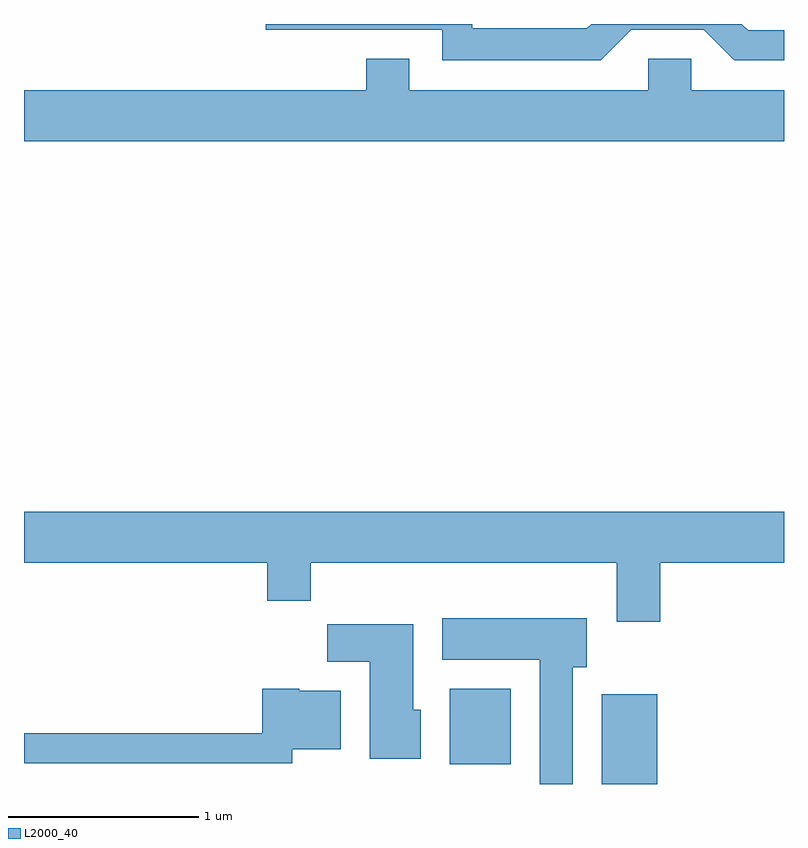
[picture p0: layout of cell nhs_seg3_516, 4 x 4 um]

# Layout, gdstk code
import gdstk
lib = gdstk.Library(unit=1e-6, precision=1e-09)
def R(c, l, rs):  # rectangles x0, y0, x1, y1
    for r in rs: c.add(gdstk.rectangle(r[:2], r[2:], *l))
def P(c, l, *ps):  # polygons
    for p in ps: c.add(gdstk.Polygon(p, *l))
L2000_40 = (2000, 40)

nhs_seg3_516 = lib.new_cell('nhs_seg3_516')
R(nhs_seg3_516, L2000_40, [(202.651,1195.892,202.944,1196.364), (201.851,1195.996,202.174,1196.394)])
P(nhs_seg3_516, L2000_40, [(202.807,1199.861),(203.189,1199.861),(203.349,1199.701),(203.611,1199.701),(203.611,1199.859),(203.422,1199.859),(203.389,1199.892),(202.597,1199.892),(202.574,1199.869),(201.969,1199.869),(201.969,1199.892),(200.883,1199.892),(200.883,1199.861),(201.811,1199.861),(201.811,1199.701),(202.647,1199.701)],
  [(203.611,1199.544),(203.124,1199.544),(203.124,1199.709),(202.896,1199.709),(202.896,1199.544),(201.639,1199.544),(201.639,1199.709),(201.411,1199.709),(201.411,1199.544),(199.611,1199.544),(199.611,1199.276),(203.611,1199.276)],
  [(202.959,1197.056),(203.611,1197.056),(203.611,1197.324),(199.611,1197.324),(199.611,1197.056),(200.891,1197.056),(200.891,1196.856),(201.119,1196.856),(201.119,1197.056),(202.731,1197.056),(202.731,1196.746),(202.959,1196.746)],
  [(202.499,1196.506),(202.574,1196.506),(202.574,1196.764),(201.811,1196.764),(201.811,1196.546),(202.326,1196.546),(202.326,1195.892),(202.499,1195.892)],
  [(201.699,1196.284),(201.659,1196.284),(201.659,1196.734),(201.206,1196.734),(201.206,1196.536),(201.431,1196.536),(201.431,1196.026),(201.699,1196.026)],
  [(201.024,1196.076),(201.279,1196.076),(201.279,1196.384),(201.06,1196.384),(201.06,1196.394),(200.866,1196.394),(200.866,1196.159),(199.611,1196.159),(199.611,1196.001),(201.024,1196.001)])

lib.write_gds('nhs_seg3_516.gds')
